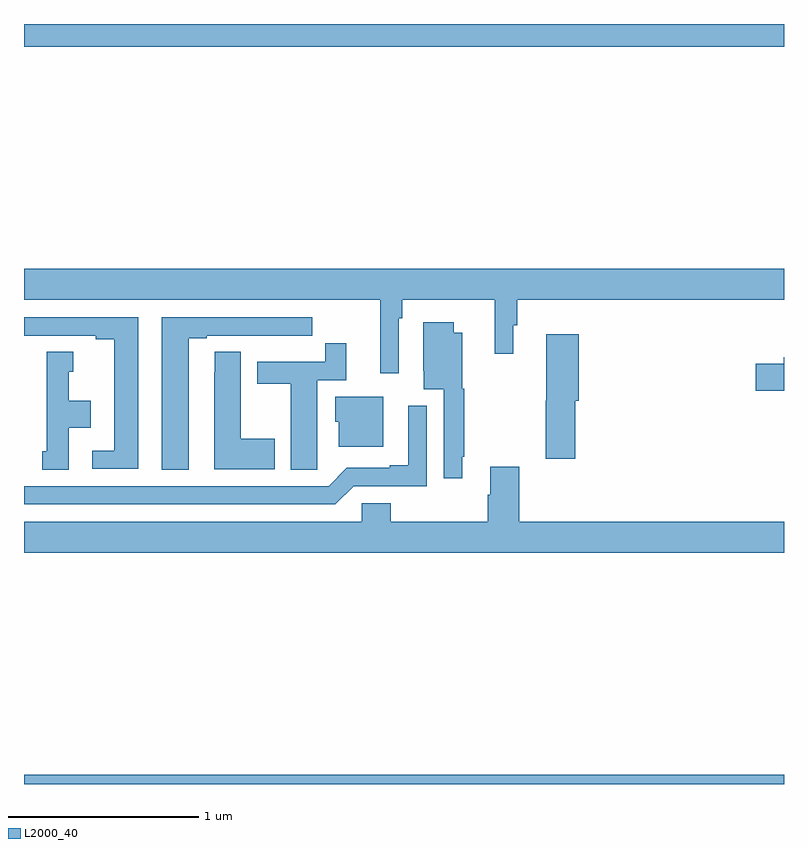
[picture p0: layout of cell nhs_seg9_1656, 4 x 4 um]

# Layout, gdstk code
import gdstk
lib = gdstk.Library(unit=1e-6, precision=1e-09)
def R(c, l, rs):  # rectangles x0, y0, x1, y1
    for r in rs: c.add(gdstk.rectangle(r[:2], r[2:], *l))
def P(c, l, *ps):  # polygons
    for p in ps: c.add(gdstk.Polygon(p, *l))
L2000_40 = (2000, 40)

nhs_seg9_1656 = lib.new_cell('nhs_seg9_1656')
R(nhs_seg9_1656, L2000_40, [(203,1232.5,207,1232.548), (203,1236.38,207,1236.5)])
P(nhs_seg9_1656, L2000_40, [(204.972,1234.952),(204.992,1234.952),(204.992,1235.048),(205.478,1235.048),(205.478,1234.764),(205.576,1234.764),(205.576,1234.914),(205.595,1234.914),(205.595,1235.048),(207,1235.048),(207,1235.212),(203,1235.212),(203,1235.048),(204.875,1235.048),(204.875,1234.662),(204.972,1234.662)],
  [(203.866,1234.845),(203.962,1234.845),(203.962,1234.86),(204.238,1234.86),(204.238,1234.859),(204.404,1234.859),(204.404,1234.86),(204.517,1234.86),(204.517,1234.956),(203.726,1234.956),(203.726,1234.153),(203.866,1234.153)],
  [(203.602,1234.956),(203,1234.956),(203,1234.86),(203.378,1234.86),(203.378,1234.84),(203.474,1234.84),(203.474,1234.254),(203.358,1234.254),(203.358,1234.158),(203.602,1234.158)],
  [(205.306,1234.222),(205.318,1234.222),(205.318,1234.581),(205.306,1234.581),(205.306,1234.876),(205.261,1234.876),(205.261,1234.93),(205.1,1234.93),(205.1,1234.674),(205.103,1234.674),(205.103,1234.577),(205.209,1234.577),(205.209,1234.11),(205.306,1234.11)],
  [(205.901,1234.518),(205.919,1234.518),(205.919,1234.867),(205.748,1234.867),(205.748,1234.518),(205.747,1234.518),(205.747,1234.212),(205.901,1234.212)],
  [(204.543,1234.264),(204.544,1234.264),(204.544,1234.626),(204.695,1234.626),(204.695,1234.819),(204.586,1234.819),(204.586,1234.722),(204.227,1234.722),(204.227,1234.606),(204.404,1234.606),(204.404,1234.153),(204.543,1234.153)],
  [(204.319,1234.317),(204.142,1234.317),(204.142,1234.775),(204.003,1234.775),(204.003,1234.667),(204.002,1234.667),(204.002,1234.157),(204.319,1234.157)],
  [(203.236,1234.376),(203.35,1234.376),(203.35,1234.516),(203.236,1234.516),(203.236,1234.671),(203.26,1234.671),(203.26,1234.774),(203.12,1234.774),(203.12,1234.251),(203.096,1234.251),(203.096,1234.153),(203.236,1234.153)],
  [(207,1234.747),(206.999,1234.747),(206.999,1234.713),(206.85,1234.713),(206.85,1234.571),(207,1234.571)],
  [(204.892,1234.537),(204.638,1234.537),(204.638,1234.407),(204.656,1234.407),(204.656,1234.274),(204.892,1234.274)],
  [(204.735,1234.068),(205.119,1234.068),(205.119,1234.492),(205.022,1234.492),(205.022,1234.177),(204.926,1234.177),(204.926,1234.164),(204.699,1234.164),(204.603,1234.068),(203,1234.068),(203,1233.972),(204.639,1233.972)],
  [(207,1233.88),(205.607,1233.88),(205.607,1234.171),(205.454,1234.171),(205.454,1234.022),(205.442,1234.022),(205.442,1233.88),(204.929,1233.88),(204.929,1233.978),(204.777,1233.978),(204.777,1233.88),(203,1233.88),(203,1233.716),(207,1233.716)])

lib.write_gds('nhs_seg9_1656.gds')
